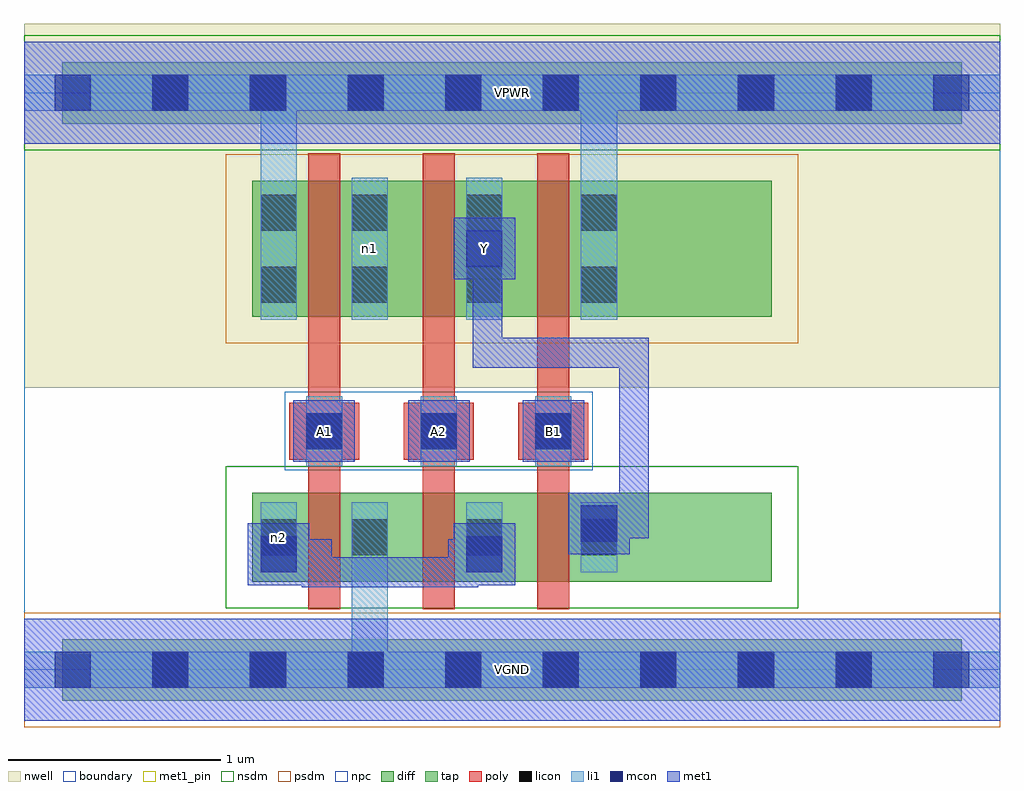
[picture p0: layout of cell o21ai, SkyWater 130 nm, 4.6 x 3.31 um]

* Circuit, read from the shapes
.subckt o21ai A1 A2 B1 VGND VPWR Y n1 n2
XM1 VGND A1 n2 VGND sky130_fd_pr__nfet_01v8 w=0.42 l=0.15
XM2 n2 A2 VGND VGND sky130_fd_pr__nfet_01v8 w=0.42 l=0.15
XM3 Y B1 n2 VGND sky130_fd_pr__nfet_01v8 w=0.42 l=0.15
XM4 n1 A1 VPWR VPWR sky130_fd_pr__pfet_01v8 w=0.64 l=0.15
XM5 Y A2 n1 VPWR sky130_fd_pr__pfet_01v8 w=0.64 l=0.15
XM6 VPWR B1 Y VPWR sky130_fd_pr__pfet_01v8 w=0.64 l=0.15
.ends

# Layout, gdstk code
import gdstk
lib = gdstk.Library(unit=1e-6, precision=1e-09)
def R(c, l, rs):  # rectangles x0, y0, x1, y1
    for r in rs: c.add(gdstk.rectangle(r[:2], r[2:], *l))
def A(c, l, x, y, w, h, nx, ny, dx, dy):  # array of equal rectangles
    R(c, l, [(x+i*dx, y+j*dy, x+i*dx+w, y+j*dy+h) for i in range(nx) for j in range(ny)])
nwell = (64, 20)
diff = (65, 20)
tap = (65, 44)
poly = (66, 20)
licon = (66, 44)
li1 = (67, 20)
mcon = (67, 44)
met1_pin = (68, 16)
met1 = (68, 20)
nsdm = (93, 44)
psdm = (94, 20)
npc = (95, 20)
boundary = (235, 4)

o21ai = lib.new_cell('o21ai')
R(o21ai, nwell, [(0,1.33,4.6,3.045)])
R(o21ai, diff, [(1.075,0.415,3.525,0.835), (1.075,1.665,3.525,2.305)])
R(o21ai, tap, [(0.18,-0.145,4.42,0.145), (0.18,2.575,4.42,2.865)])
A(o21ai, poly, 1.34, 0.285, 0.15, 2.15, 3, 1, 0.54, 0)
A(o21ai, poly, 1.25, 0.99, 0.33, 0.27, 3, 1, 0.54, 0)
A(o21ai, licon, 0.605, -0.085, 0.17, 0.17, 8, 2, 0.46, 2.72)
A(o21ai, licon, 1.545, 0.54, 0.17, 0.17, 3, 2, 0.54, 1.19)
A(o21ai, licon, 1.33, 1.04, 0.17, 0.17, 3, 1, 0.54, 0)
A(o21ai, licon, 1.545, 2.07, 0.17, 0.17, 3, 1, 0.54, 0)
R(o21ai, licon, [(1.115,0.54,1.285,0.71), (1.115,1.73,1.285,1.9), (1.115,2.07,1.285,2.24)])
A(o21ai, li1, 1.545, 0.46, 0.17, 0.33, 3, 1, 0.54, 0)
A(o21ai, li1, 1.33, 0.96, 0.17, 0.33, 3, 1, 0.54, 0)
A(o21ai, li1, 1.545, 1.65, 0.17, 0.67, 3, 1, 0.54, 0)
R(o21ai, li1, [(0,-0.085,4.6,0.085), (1.545,-0.085,1.715,0.79), (1.115,0.46,1.285,0.79), (1.115,1.65,1.285,2.32), (1.115,1.65,1.285,2.805), (2.625,1.65,2.795,2.805), (0,2.635,4.6,2.805)])
A(o21ai, mcon, 0.145, -0.085, 0.17, 0.17, 10, 2, 0.46, 2.72)
A(o21ai, mcon, 1.33, 1.04, 0.17, 0.17, 3, 1, 0.54, 0)
R(o21ai, mcon, [(1.115,0.46,1.285,0.63), (2.085,0.46,2.255,0.63), (2.625,0.605,2.795,0.775), (2.085,1.9,2.255,2.07)])
A(o21ai, met1_pin, 1.27, 0.98, 0.29, 0.29, 3, 1, 0.54, 0)
R(o21ai, met1_pin, [(0,-0.24,4.6,0.24), (2.025,1.84,2.315,2.13), (0,2.48,4.6,2.96)])
A(o21ai, met1, 1.27, 0.98, 0.29, 0.29, 3, 1, 0.54, 0)
R(o21ai, met1, [(0,-0.24,4.6,0.24), (1.31,0.39,1.45,0.615), (1.31,0.39,2.14,0.53), (2,0.39,2.14,0.615), (1.055,0.4,1.345,0.69), (2.025,0.4,2.315,0.69), (1.13,0.475,1.45,0.615), (2,0.475,2.24,0.615), (2.565,0.545,2.855,0.835), (2.64,0.62,2.945,0.76), (2.805,0.62,2.945,1.565), (2.115,1.425,2.945,1.565), (2.115,1.425,2.255,2.025), (2.025,1.84,2.315,2.13), (2.115,1.885,2.255,2.025), (0,2.48,4.6,2.96)])
R(o21ai, nsdm, [(0.95,0.29,3.65,0.96), (0,2.45,4.6,2.99)])
R(o21ai, psdm, [(0,-0.27,4.6,0.27), (0.95,1.54,3.65,2.43)])
R(o21ai, npc, [(1.23,0.94,2.68,1.31)])
R(o21ai, boundary, [(0,0,4.6,2.72)])
o21ai.add(gdstk.Label('n2', (1.2,0.625), layer=67, texttype=5))
o21ai.add(gdstk.Label('n1', (1.63,1.985), layer=67, texttype=5))
o21ai.add(gdstk.Label('A1', (1.415,1.125), layer=68, texttype=5))
o21ai.add(gdstk.Label('A2', (1.955,1.125), layer=68, texttype=5))
o21ai.add(gdstk.Label('B1', (2.495,1.125), layer=68, texttype=5))
o21ai.add(gdstk.Label('Y', (2.17,1.985), layer=68, texttype=5))
o21ai.add(gdstk.Label('VPWR', (2.3,2.72), layer=68, texttype=5))
o21ai.add(gdstk.Label('VGND', (2.3,0), layer=68, texttype=5))
o21ai.add(gdstk.Label('A1', (1.415,1.125), layer=68, texttype=16))
o21ai.add(gdstk.Label('A2', (1.955,1.125), layer=68, texttype=16))
o21ai.add(gdstk.Label('B1', (2.495,1.125), layer=68, texttype=16))
o21ai.add(gdstk.Label('Y', (2.17,1.985), layer=68, texttype=16))
o21ai.add(gdstk.Label('VPWR', (2.3,2.72), layer=68, texttype=16))
o21ai.add(gdstk.Label('VGND', (2.3,0), layer=68, texttype=16))

lib.write_gds('o21ai.gds')
